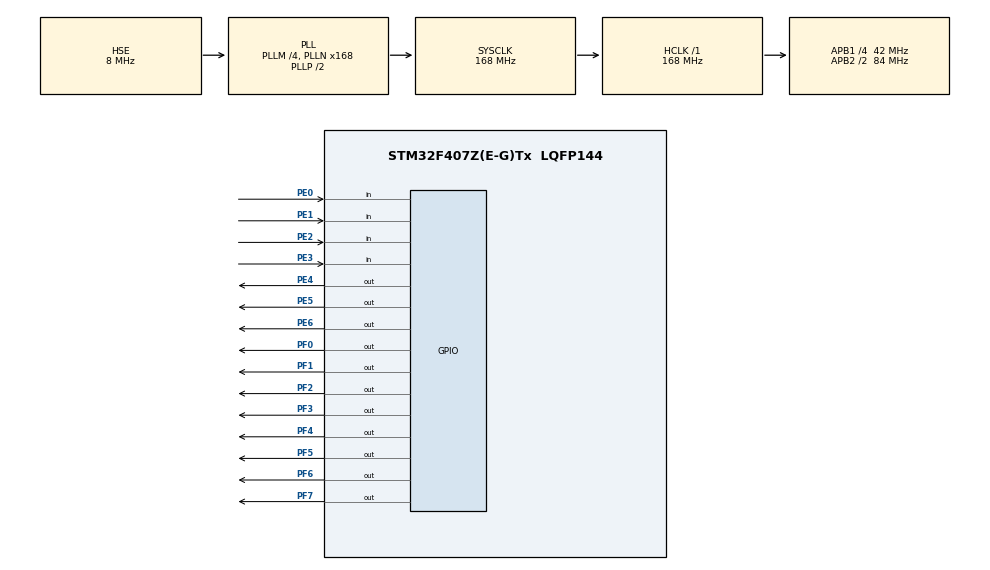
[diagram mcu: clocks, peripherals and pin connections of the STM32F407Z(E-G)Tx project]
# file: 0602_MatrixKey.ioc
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Mcu.Family=STM32F4
Mcu.Name=STM32F407Z(E-G)Tx
Mcu.Package=LQFP144
NVIC.PriorityGroup=NVIC_PRIORITYGROUP_4
PA13.Mode=Serial_Wire
PA13.Signal=SYS_JTMS-SWDIO
PA14.Mode=Serial_Wire
PA14.Signal=SYS_JTCK-SWCLK
PE0.GPIO_PuPd=GPIO_PULLUP
PE0.Signal=GPIO_Input
PE1.GPIO_PuPd=GPIO_PULLUP
PE1.Signal=GPIO_Input
PE2.GPIO_PuPd=GPIO_PULLUP
PE2.Signal=GPIO_Input
PE3.GPIO_PuPd=GPIO_PULLUP
PE3.Signal=GPIO_Input
PE4.PinState=GPIO_PIN_SET
PE4.Signal=GPIO_Output
PE5.PinState=GPIO_PIN_SET
PE5.Signal=GPIO_Output
PE6.PinState=GPIO_PIN_SET
PE6.Signal=GPIO_Output
PF0.PinState=GPIO_PIN_SET
PF0.Signal=GPIO_Output
PF1.PinState=GPIO_PIN_SET
PF1.Signal=GPIO_Output
PF2.PinState=GPIO_PIN_SET
PF2.Signal=GPIO_Output
PF3.PinState=GPIO_PIN_SET
PF3.Signal=GPIO_Output
PF4.PinState=GPIO_PIN_SET
PF4.Signal=GPIO_Output
PF5.PinState=GPIO_PIN_SET
PF5.Signal=GPIO_Output
PF6.PinState=GPIO_PIN_SET
PF6.Signal=GPIO_Output
PF7.PinState=GPIO_PIN_SET
PF7.Signal=GPIO_Output
PH0-OSC_IN.Mode=HSE-External-Oscillator
PH0-OSC_IN.Signal=RCC_OSC_IN
PH1-OSC_OUT.Mode=HSE-External-Oscillator
PH1-OSC_OUT.Signal=RCC_OSC_OUT
ProjectManager.HeapSize=0x200
ProjectManager.StackSize=0x400
ProjectManager.TargetToolchain=MDK-ARM V5.32
RCC.48MHZClocksFreq_Value=84000000
RCC.AHBFreq_Value=168000000
RCC.APB1CLKDivider=RCC_HCLK_DIV4
RCC.APB1Freq_Value=42000000
RCC.APB1TimFreq_Value=84000000
RCC.APB2CLKDivider=RCC_HCLK_DIV2
RCC.APB2Freq_Value=84000000
RCC.APB2TimFreq_Value=168000000
RCC.CortexFreq_Value=168000000
RCC.HCLKFreq_Value=168000000
RCC.HSE_VALUE=8000000
RCC.HSI_VALUE=16000000
RCC.LSE_VALUE=32768
RCC.PLLM=4
RCC.PLLN=168
RCC.PLLSourceVirtual=RCC_PLLSOURCE_HSE
RCC.SYSCLKFreq_VALUE=168000000
RCC.SYSCLKSource=RCC_SYSCLKSOURCE_PLLCLK
RCC.VCOOutputFreq_Value=336000000
board=custom

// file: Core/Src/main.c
/* USER CODE BEGIN Header */
/**
  ******************************************************************************
  * @file           : main.c
  * @brief          : Main program body
  ******************************************************************************
  * @attention
  *
  * Copyright (c) 2026 STMicroelectronics.
  * All rights reserved.
  *
  * This software is licensed under terms that can be found in the LICENSE file
  * in the root directory of this software component.
  * If no LICENSE file comes with this software, it is provided AS-IS.
  *
  ******************************************************************************
  */
/* USER CODE END Header */
#include "main.h"
#include "gpio.h"

/* USER CODE BEGIN PV */
uint16_t i,KeyVal=0;
uint8_t PreLine[3]={2,0,1};
/* USER CODE END PV */

void SystemClock_Config(void);

int main(void)
{

  /* MCU Configuration--------------------------------------------------------*/

  /* Reset of all peripherals, Initializes the Flash interface and the Systick. */
  HAL_Init();

  /* Configure the system clock */
  SystemClock_Config();

  /* Initialize all configured peripherals */
  MX_GPIO_Init();

  /* Infinite loop */
  while (1)
  {

    /* USER CODE BEGIN 3 */
for(i=0;i<3;i++)
{
	GPIOE->ODR |=( (1<<4) | (1<<5) | (1<<6) );
	GPIOE->ODR &=~(1<<(i+4));
	if( (GPIOE->IDR & 0x0F) != 0x0F )
	{
		HAL_Delay(16);
		if( (GPIOE->IDR & 0x0F) != 0x0F )
		{
			switch( GPIOE->IDR & 0x0F )
			{
				        case 0x0E: GPIOF->ODR = 0xFF & ~(1<<0); break; //PF0?
                case 0x0D: GPIOF->ODR = 0xFF & ~(1<<1); break; //PF1?
                case 0x0B: GPIOF->ODR = 0xFF & ~(1<<2); break; //PF2?
                case 0x07: GPIOF->ODR = 0xFF & ~(1<<3); break; //PF3?

				default: break;
			}
			while( (GPIOE->IDR & 0x0F) !=0x0F );
		}
	}
}

	}
  /* USER CODE END 3 */
}

void SystemClock_Config(void)
{
  RCC_OscInitTypeDef RCC_OscInitStruct = {0};
  RCC_ClkInitTypeDef RCC_ClkInitStruct = {0};

  /** Configure the main internal regulator output voltage
  */
  __HAL_RCC_PWR_CLK_ENABLE();
  __HAL_PWR_VOLTAGESCALING_CONFIG(PWR_REGULATOR_VOLTAGE_SCALE1);

  /** Initializes the RCC Oscillators according to the specified parameters
  * in the RCC_OscInitTypeDef structure.
  */
  RCC_OscInitStruct.OscillatorType = RCC_OSCILLATORTYPE_HSE;
  RCC_OscInitStruct.HSEState = RCC_HSE_ON;
  RCC_OscInitStruct.PLL.PLLState = RCC_PLL_ON;
  RCC_OscInitStruct.PLL.PLLSource = RCC_PLLSOURCE_HSE;
  RCC_OscInitStruct.PLL.PLLM = 4;
  RCC_OscInitStruct.PLL.PLLN = 168;
  RCC_OscInitStruct.PLL.PLLP = RCC_PLLP_DIV2;
  RCC_OscInitStruct.PLL.PLLQ = 4;
  if (HAL_RCC_OscConfig(&RCC_OscInitStruct) != HAL_OK)
  {
    Error_Handler();
  }

  /** Initializes the CPU, AHB and APB buses clocks
  */
  RCC_ClkInitStruct.ClockType = RCC_CLOCKTYPE_HCLK|RCC_CLOCKTYPE_SYSCLK
                              |RCC_CLOCKTYPE_PCLK1|RCC_CLOCKTYPE_PCLK2;
  RCC_ClkInitStruct.SYSCLKSource = RCC_SYSCLKSOURCE_PLLCLK;
  RCC_ClkInitStruct.AHBCLKDivider = RCC_SYSCLK_DIV1;
  RCC_ClkInitStruct.APB1CLKDivider = RCC_HCLK_DIV4;
  RCC_ClkInitStruct.APB2CLKDivider = RCC_HCLK_DIV2;

  if (HAL_RCC_ClockConfig(&RCC_ClkInitStruct, FLASH_LATENCY_5) != HAL_OK)
  {
    Error_Handler();
  }
}

void Error_Handler(void)
{
  __disable_irq();
  while (1)
  {
  }
}
